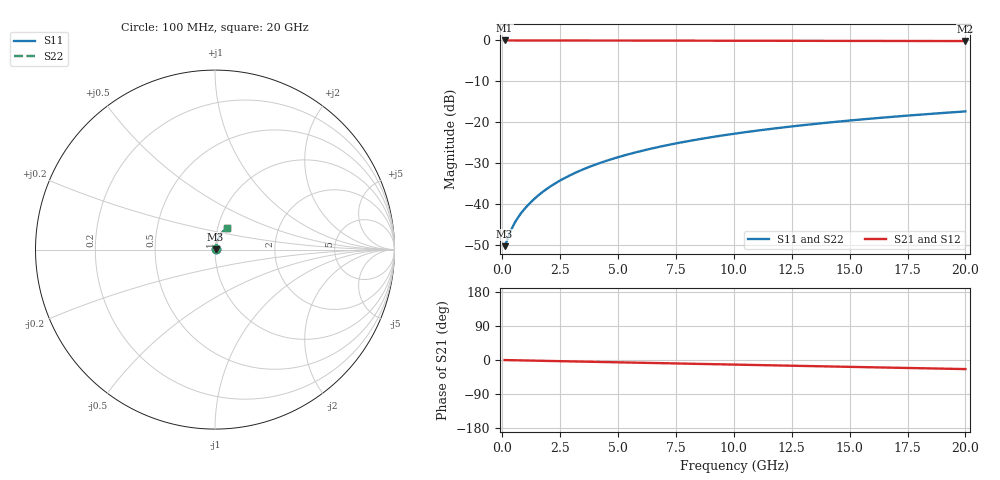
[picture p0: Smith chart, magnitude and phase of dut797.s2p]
! Touchstone file exported from HFSS 2026.1.0
!  File:  C:/ffzhzh/LocalFiles/Ansys_Project_Files/temp_train_TMRDL_797_1783156060_43440.aedt
!  Generated:  05:08:47 PM Jul  4, 2026
!  Design:  TMRDL
!  Project:  temp_train_TMRDL_797_1783156060_43440
! Variables:
!  h_bsmrdl = 2um
!  h_ox = 20um
!  h_rdl = 5um
!  h_sub = 80um
!  h_tmrdl = 2.76um
!  h_tsv = 80um
!  h_via = 3um
!  l_bsmrdl = 300um
!  l_sub = 790.88um
!  l_tmrdl = 390.88um
!  m_sub = 200um
!  pitch = 27.62um
!  r_tsv = 6um
!  s_tmrdl = 10um
!  w_bsmrdl = 18um
!  w_sub = 500um
!  w_tmrdl = 19.03um
!  x_tsv_center1 = 400.395um
!  x_tsv_center2 = 718.395um
!  x_tsv_center3 = 1128.305um
!  x_tsv_center4 = 1446.305um
!  x_tsv_center5 = 1856.215um
!  x_tsv_center6 = 2174.215um
# GHz S MA R 50.000000
! Terminal data exported
! Port[1] = TM_RDL1_1_T1
! Port[2] = TM_RDL1_1_T2
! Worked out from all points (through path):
!   200 points, 100 MHz to 20 GHz, reference 50 ohm
!   highest |S21| = -0.03 dB at 100 MHz (marker M1); lowest = -0.2 dB at 20 GHz (marker M2)
!   group delay of S21, straight-line fit = 3.32 ps
!   lowest |S11| = -50.3 dB at 100 MHz (marker M3), VSWR 1.01, Z = 50.3 + j0.0989 ohm
!   |S11| at or under -10 dB: start of sweep to end of sweep
!   |S22| runs from -50.3 to -17.4 dB; largest |S21 - S12| = 3.4e-15
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0.1  0.003054 18.8  0.9971 -0.1  0.9971 -0.1  0.003054 18.8
! Gamma 0 0 0 0
! Port Impedance 50 0 50 0
0.4  0.00494 47.2  0.9967 -0.5  0.9967 -0.5  0.00494 47.1
0.5  0.005634 51.2  0.9965 -0.7  0.9965 -0.7  0.005634 51.2
0.6  0.006315 54.3  0.9964 -0.8  0.9964 -0.8  0.006315 54.3
0.7  0.006985 56.9  0.9963 -0.9  0.9963 -0.9  0.006985 56.9
0.9  0.008313 60.9  0.9961 -1.1  0.9961 -1.1  0.008312 60.9
1.2  0.01032 65.3  0.9959 -1.5  0.9959 -1.5  0.01032 65.3
1.4  0.01168 67.5  0.9958 -1.8  0.9958 -1.8  0.01168 67.5
1.7  0.01375 69.9  0.9957 -2.1  0.9957 -2.1  0.01375 69.9
2.2  0.01726 72.6  0.9955 -2.7  0.9955 -2.7  0.01726 72.6
2.8  0.02154 74.4  0.9953 -3.5  0.9953 -3.5  0.02154 74.4
3.5  0.02657 75.5  0.995 -4.3  0.995 -4.3  0.02657 75.5
4.2  0.03161 75.9  0.9946 -5.2  0.9946 -5.2  0.03161 75.9
5  0.03735 75.9  0.9941 -6.1  0.9941 -6.1  0.03735 75.9
5.9  0.04377 75.5  0.9935 -7.2  0.9935 -7.2  0.04376 75.5
6.8  0.05012 74.9  0.9929 -8.3  0.9929 -8.3  0.05012 74.9
8.3  0.06057 73.7  0.9917 -10.1  0.9917 -10.1  0.06056 73.7
10.1  0.07284 72.0  0.9901 -12.3  0.9901 -12.3  0.07283 72.0
11.7  0.0835 70.3  0.9885 -14.2  0.9885 -14.2  0.08349 70.3
13.4  0.09459 68.5  0.9868 -16.2  0.9868 -16.2  0.09458 68.5
16.7  0.1154 65.0  0.9834 -20.1  0.9834 -20.1  0.1154 65.0
20  0.1354 61.4  0.9799 -24.0  0.9799 -24.0  0.1354 61.5
